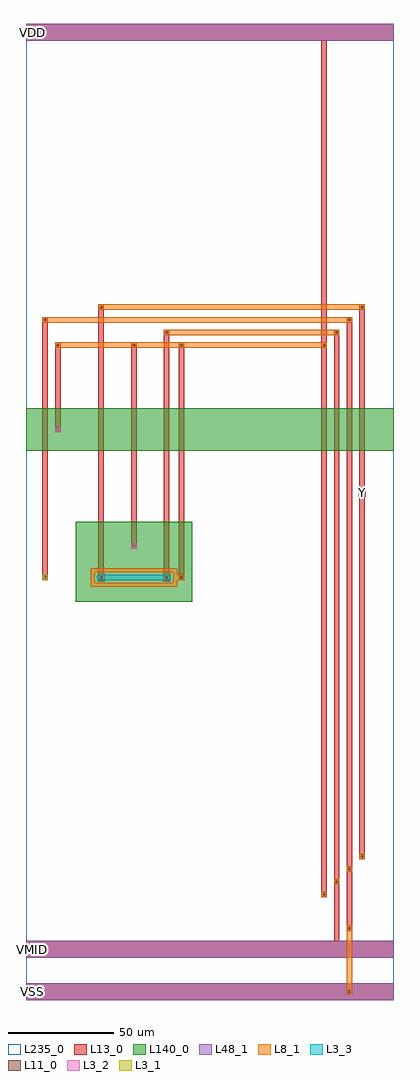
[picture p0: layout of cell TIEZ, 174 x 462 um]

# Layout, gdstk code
import gdstk
lib = gdstk.Library(unit=1e-6, precision=1e-09)
def R(c, l, rs):  # rectangles x0, y0, x1, y1
    for r in rs: c.add(gdstk.rectangle(r[:2], r[2:], *l))
def P(c, l, *ps):  # polygons
    for p in ps: c.add(gdstk.Polygon(p, *l))
L3_1 = (3, 1)
L3_2 = (3, 2)
L3_3 = (3, 3)
L8_1 = (8, 1)
L11_0 = (11, 0)
L13_0 = (13, 0)
L48_1 = (48, 1)
L140_0 = (140, 0)
L235_0 = (235, 0)

res_diff__tiez = lib.new_cell('res_diff__TIEZ')
P(res_diff__tiez, L3_3, [(-16.5,-1.4),(-17.5,-0.4),(-17.5,0.4),(-16.5,1.4),(16.5,1.4),(17.5,0.4),(17.5,-0.4),(16.5,-1.4)])
P(res_diff__tiez, L8_1, [(-20.5,-4.4),(-20.5,2.4),(-18.5,2.4),(-18.5,-2.4),(18.5,-2.4),(18.5,2.4),(-20.5,2.4),(-20.5,4.4),(20.5,4.4),(20.5,-4.4)])
R(res_diff__tiez, L11_0, [(-16,-0.5,-15,0.5), (15,-0.5,16,0.5)])
R(res_diff__tiez, L13_0, [(-17.2,-1.7,-13.8,1.7), (13.8,-1.7,17.2,1.7)])

cont_n__tiez = lib.new_cell('cont_n__TIEZ')
R(cont_n__tiez, L3_2, [(-1.3,-1.3,1.3,1.3)])
R(cont_n__tiez, L11_0, [(-0.5,-0.5,0.5,0.5)])
R(cont_n__tiez, L13_0, [(-1.3,-1.3,1.3,1.3)])

cont_g__tiez = lib.new_cell('cont_g__TIEZ')
R(cont_g__tiez, L8_1, [(-1.3,-1.3,1.3,1.3)])
R(cont_g__tiez, L11_0, [(-0.5,-0.5,0.5,0.5)])
R(cont_g__tiez, L13_0, [(-1.3,-1.3,1.3,1.3)])

cont_p__tiez = lib.new_cell('cont_p__TIEZ')
R(cont_p__tiez, L3_1, [(-1.3,-1.3,1.3,1.3)])
R(cont_p__tiez, L11_0, [(-0.5,-0.5,0.5,0.5)])
R(cont_p__tiez, L13_0, [(-1.3,-1.3,1.3,1.3)])

tiez = lib.new_cell('TIEZ')
R(tiez, L8_1, [(151.7,2.7,154.3,35.3), (70.2,198.7,74.8,201.3), (13.7,308.7,142.3,311.3), (65.2,314.7,148.3,317.3), (7.7,320.7,154.3,323.3), (34.2,326.7,160.3,329.3)])
R(tiez, L13_0, [(0,0,174,8), (0,20,174,28), (145.7,22.7,148.3,57.3), (151.7,32.7,154.3,63.3), (139.7,48.7,142.3,311.3), (145.7,54.7,148.3,317.3), (151.7,60.7,154.3,323.3), (157.7,66.7,160.3,329.3), (7.7,198.7,10.3,323.3), (34.2,198.7,36.8,329.3), (65.2,198.7,67.8,317.3), (72.2,198.7,74.8,311.3), (49.7,213.7,52.3,311.3), (157.3,238.3,160.7,241.7), (13.7,268.7,16.3,311.3), (139.7,308.7,142.3,459.3), (0,454,174,462)])
R(tiez, L48_1, [(0,0,174,8), (0,20,174,28), (157.3,238.3,160.7,241.7), (0,454,174,462)])
R(tiez, L140_0, [(23.5,188.6,78.5,226.4), (0,260,174,280)])
R(tiez, L235_0, [(0,0,174,462)])
tiez.add(gdstk.Reference(res_diff__tiez, (51,200)))
tiez.add(gdstk.Reference(cont_n__tiez, (51,215)))
tiez.add(gdstk.Reference(cont_g__tiez, (73.5,200)))
tiez.add(gdstk.Reference(cont_n__tiez, (15,270)))
tiez.add(gdstk.Reference(cont_p__tiez, (9,200)))
tiez.add(gdstk.Reference(cont_g__tiez, (141,50)))
tiez.add(gdstk.Reference(cont_g__tiez, (51,310)))
tiez.add(gdstk.Reference(cont_g__tiez, (73.5,310)))
tiez.add(gdstk.Reference(cont_g__tiez, (15,310)))
tiez.add(gdstk.Reference(cont_g__tiez, (141,310)))
tiez.add(gdstk.Reference(cont_g__tiez, (147,56)))
tiez.add(gdstk.Reference(cont_g__tiez, (66.5,316)))
tiez.add(gdstk.Reference(cont_g__tiez, (147,316)))
tiez.add(gdstk.Reference(cont_g__tiez, (153,62)))
tiez.add(gdstk.Reference(cont_g__tiez, (9,322)))
tiez.add(gdstk.Reference(cont_g__tiez, (153,322)))
tiez.add(gdstk.Reference(cont_g__tiez, (153,34)))
tiez.add(gdstk.Reference(cont_g__tiez, (153,4)))
tiez.add(gdstk.Reference(cont_g__tiez, (159,68)))
tiez.add(gdstk.Reference(cont_g__tiez, (35.5,328)))
tiez.add(gdstk.Reference(cont_g__tiez, (159,328)))
tiez.add(gdstk.Label('Y', (159,240), layer=48, texttype=0))
tiez.add(gdstk.Label('VDD', (3,458), layer=48, texttype=0))
tiez.add(gdstk.Label('VMID', (3,24), layer=48, texttype=0))
tiez.add(gdstk.Label('VSS', (3,4), layer=48, texttype=0))

lib.write_gds('TIEZ.gds')
